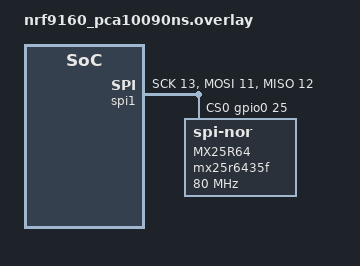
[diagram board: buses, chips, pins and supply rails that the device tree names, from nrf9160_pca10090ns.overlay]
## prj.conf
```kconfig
CONFIG_SERIAL=y
#CONFIG_TRUSTED_EXECUTION_NONSECURE=y
#CONFIG_UART_INTERRUPT_DRIVEN=y
#CONFIG_UART_0_NRF_UARTE=y


# SPI

CONFIG_SPI=y
#CONFIG_NRFX_SPIM=y
#CONFIG_NRFX_SPIM3=y
#CONFIG_SPI_ASYNC=n

CONFIG_LOG=y
#CONFIG_SPI_LOG_LEVEL_DBG=y


# Segger RTT
#CONFIG_USE_SEGGER_RTT=y
#CONFIG_RTT_CONSOLE=y
#CONFIG_UART_CONSOLE=n
#CONFIG_LOG_BACKEND_RTT=n
#CONFIG_LOG_BACKEND_UART=n

CONFIG_DEBUG=y
CONFIG_THREAD_MONITOR=y
CONFIG_THREAD_NAME=y
CONFIG_THREAD_STACK_INFO=y

CONFIG_SPI_1=y
CONFIG_NRFX_SPIM1=y

CONFIG_SPI_3=n
CONFIG_NRFX_SPIM3=n
```

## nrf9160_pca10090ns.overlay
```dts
/*  */
&spi1 {
	compatible = "nordic,nrf-spim";
	status = "okay";
	sck-pin = <13>;
	mosi-pin = <11>;
	miso-pin = <12>;
	cs-gpios = <&gpio0 25 0x0>;
	mx25r64: mx25r6435f@0 {
		compatible = "jedec,spi-nor";
		reg = <0>;
		spi-max-frequency = <80000000>;
		label = "MX25R64";
		jedec-id = [c2 28 17];
		size = <67108864>;
	};
};

&spi3 {

	status = "disabled";

};
&uart1 {

	status = "disabled";

};
```

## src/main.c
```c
/*

* Copyright (c) 2012-2014 Wind River Systems, Inc.

*

* SPDX-License-Identifier: Apache-2.0

*/

#define TEST_SPI_CS_EN 1
#define SPI_CS_CFG_FROM_DTS 0

#if SPI_CS_CFG_FROM_DTS
#define DT_DRV_COMPAT jedec_spi_nor
#endif

#include <zephyr.h>
#include <sys/printk.h>

#include <drivers/spi.h>

/* including 

	const struct device	*gpio_dev;
	uint32_t		delay;
	gpio_pin_t		gpio_pin;
	gpio_dt_flags_t		gpio_dt_flags;
*/

#if TEST_SPI_CS_EN
struct spi_cs_control cs_ctrl; /*   */
#endif

static struct spi_config spi_cfg = {
	.operation = SPI_WORD_SET(8) /* | SPI_TRANSFER_MSB | SPI_MODE_CPOL |
		     SPI_MODE_CPHA*/,
	.frequency = 1000000,
	.slave = 0,
};

const struct device *spi_dev;

static void spi_init(void)
{
#if TEST_SPI_CS_EN
#if !SPI_CS_CFG_FROM_DTS /* not from DTS */
	/* A quick dirty way to add CS to SPI Master to control slave CS  */
	cs_ctrl.delay = 0U; /* us time setup CS before and after SPI activities   */
	cs_ctrl.gpio_pin = 25; /* px.07; GPIO_0 -> p0.25 */
	//cs_ctrl.gpio_dt_flags = 1;  // only avaiable in later NCS releases, please enable this line when compile with later ncs versions. 
	cs_ctrl.gpio_dev = device_get_binding("GPIO_0");

	if (!cs_ctrl.gpio_dev) {
		printk("Unable to get GPIO SPI CS device");
		return;
	}
#else

/* require dts overlay includes the cs pin details, propery device driver setup.*/
#if DT_INST_SPI_DEV_HAS_CS_GPIOS(0)
	cs_ctrl.delay = 0U;
	cs_ctrl.gpio_pin =
		DT_INST_SPI_DEV_CS_GPIOS_PIN(0); /* */
	cs_ctrl.gpio_dt_flags = DT_INST_SPI_DEV_CS_GPIOS_FLAGS(0);
	cs_ctrl.gpio_dev =
		device_get_binding(DT_INST_SPI_DEV_CS_GPIOS_LABEL(0));

	if (!cs_ctrl.gpio_dev) {
		printk("Unable to get GPIO SPI CS device");
		return;
	}

#endif
#endif
	spi_cfg.cs = &cs_ctrl;
#endif
	const char *const spiName = "SPI_1";
	spi_dev = device_get_binding(spiName);

	if (spi_dev == NULL) {
		printk("Could not get %s device\n", spiName);
		return;
	}
}

void spi_read_rdid(void)  /* read device id */
{
	int err;
	uint8_t tx_buffer[32];
	uint8_t rx_buffer[32];
    uint8_t tx_return[32];

	const struct spi_buf tx_buf = { .buf = tx_buffer,
					.len = 1 };
	const struct spi_buf_set tx = { .buffers = &tx_buf, .count = 1 };

	struct spi_buf rx_buf[2] = {
        {
            .buf = tx_return,
            .len = 1
        },
        {
            .buf = rx_buffer,
            .len = 3   /* 3 */
        }
	};
	const struct spi_buf_set rx = { .buffers = (struct spi_buf*)(&rx_buf), .count = 2 };
    tx_buffer[0] = 0x9f;
	err = spi_transceive(spi_dev, &spi_cfg, &tx, &rx);
	if (err) {
		printk("SPI error: %d\n", err);
	} else {
		printk("ID, send: %x\n", tx_buffer[0]);
		printk("RX recv: %02x %02x %02x\n", rx_buffer[0], rx_buffer[1], rx_buffer[2]  /* */);
		
	}
}


void spi_read_res(void)  /* read electronic signature  */
{
	int err;
	uint8_t tx_buffer[32];
	uint8_t rx_buffer[32];
    uint8_t tx_return[32];

	const struct spi_buf tx_buf = { .buf = tx_buffer,
					.len = 1 };
	const struct spi_buf_set tx = { .buffers = &tx_buf, .count = 1 };

	struct spi_buf rx_buf[2] = {
        {
            .buf = tx_return,
            .len = 1
        },
        {
            .buf = rx_buffer,
            .len = 4
        }
	};
	const struct spi_buf_set rx = { .buffers = rx_buf, .count = 2 };
    tx_buffer[0] = 0xAB;
	err = spi_transceive(spi_dev, &spi_cfg, &tx, &rx);
	if (err) {
		printk("SPI error: %d\n", err);
	} else {
		printk("ES: Send: %x\n", tx_buffer[0]);
		printk("RX recv: %02x %02x %02x %02x\n", rx_buffer[0], rx_buffer[1], rx_buffer[2], rx_buffer[3]  /* */);
		
	}
}


void spi_read_rems(void)  /* read electronic manufacture & device id  */
{
	int err;
	uint8_t tx_buffer[32];
	uint8_t rx_buffer[32];
    uint8_t tx_return[32];

	const struct spi_buf tx_buf = { .buf = tx_buffer,
					.len = 1 };
	const struct spi_buf_set tx = { .buffers = &tx_buf, .count = 1 };

	struct spi_buf rx_buf[2] = {
        {
            .buf = tx_return,
            .len = 0 /* 1 */
        },
        {
            .buf = rx_buffer,
            .len = 5  /* 5 */     /*   use a wrong number on purpose */
        }
	};
	const struct spi_buf_set rx = { .buffers = rx_buf, .count = 2 };
    tx_buffer[0] = 0x90;
	err = spi_transceive(spi_dev, &spi_cfg, NULL, &rx);
	if (err) {
		printk("SPI error: %d\n", err);
	} else {
		printk("REMS: Send: %x\n", tx_buffer[0]);
		printk("RX recv: %02x %02x %02x %02x %02x\n", rx_buffer[0], rx_buffer[1], rx_buffer[2], rx_buffer[3], rx_buffer[4] /* */);
		
	}
}


void spi_dummy_writes(void)  /* read electronic signature  */
{
	int err;
	uint8_t tx_buffer[32];
	uint8_t rx_buffer[32];
    uint8_t tx_return[32];

	const struct spi_buf tx_buf = { .buf = tx_buffer,
					.len = 2 };
	const struct spi_buf_set tx = { .buffers = &tx_buf, .count = 1 };

	struct spi_buf rx_buf[2] = {
        {
            .buf = tx_return,
            .len = 1
        },
        {
            .buf = rx_buffer,
            .len = 4
        }
	};
	const struct spi_buf_set rx = { .buffers = rx_buf, .count = 2 };
    tx_buffer[0] = 0x0d;
    tx_buffer[1] = 0x0a;
	err = spi_transceive(spi_dev, &spi_cfg, &tx, NULL);
	if (err) {
		printk("SPI error: %d\n", err);
	} else {
		printk("ES: Send: %x %x\n", tx_buffer[0], tx_buffer[1] );
		printk("RX recv: %02x %02x %02x %02x\n", rx_buffer[0], rx_buffer[1], rx_buffer[2], rx_buffer[3]  /* */);
		
	}
}
unsigned long spi_chk[50][3];
unsigned int spi_chk_cnt = 0;

static int8_t spi_rw(uint8_t* pu8Mosi, uint8_t* pu8Miso, uint16_t u16Sz)
{
//   HAL_StatusTypeDef status;  
int8_t status;
    int err;

/*--- RX ----------------------------------------------------------------------------*/
//const   struct spi_buf rx_buf[] = {
const   struct spi_buf spi_rx_buf = {
                                  .buf = pu8Miso,
                                  .len = u16Sz,
                                  };

const    struct spi_buf_set rx = {
//		.buffers = spi_rx_buf,
		.buffers = &spi_rx_buf,
//		.count = sizeof(spi_rx_buf) / sizeof(struct spi_rx_buf)
                .count = 1,
                };

 /*--- TX ----------------------------------------------------------------------------*/
const  struct spi_buf spi_tx_buf = {
            .buf = pu8Mosi,
            .len = u16Sz
//            .len = u16Sz/sizeof(uint8_t)
    };
const struct  spi_buf_set tx = {
//            .buffers = spi_tx_buf,           
             .buffers = &spi_tx_buf,
//            .count = sizeof(spi_tx_buf)/sizeof(struct spi_tx_buf)
            .count = 1,
    };
/*----------------------------------------------------------------------------------*/
printk("\r\nCID: 0x%x ", (uint32_t)(k_current_get ()));
if( (pu8Mosi == NULL) && (pu8Miso == NULL) )
{
    printk("%s: SPI_null data ptrs: Len (%d)\n",__FUNCTION__,u16Sz);
    return -1;
}

printk("WF_spi: T%08lX-R%08lX-%u",pu8Mosi,pu8Miso,u16Sz);
if (spi_chk_cnt >= 50)
  spi_chk_cnt = 0;

spi_chk[spi_chk_cnt][0] = pu8Mosi;
spi_chk[spi_chk_cnt][1] = pu8Miso;
spi_chk[spi_chk_cnt][2] = u16Sz;

uint8_t tx_junk[8] = {0xff,0xff };

    /* Start SPI transaction - polling method */
    /* Transmit/Recieve */
    if (pu8Mosi == NULL)                                              /* Read Data */
	{
//   err = spi_read(winc1500.spiDev, &winc1500.spi_conf, &rx);
//		status = HAL_SPI_TransmitReceive(&hspiWifi,spiDummyBuf,pu8Miso,u16Sz,1000);


//err = spi_transceive(winc1500.spiDev,&winc1500.spi_conf, (uint8_t* )(tx_junk), &rx);
err = spi_transceive(spi_dev, &spi_cfg, NULL, &rx);

    }
    else if(pu8Miso == NULL)                                          /* Write Data */
    {
       uint32_t datalen = 0;
       uint8_t* dataptr = tx.buffers->buf;
//    err = spi_write(winc1500.spiDev, &winc1500.spi_conf, &tx);
//        status = HAL_SPI_TransmitReceive(&hspiWifi,pu8Mosi,spiDummyBuf,u16Sz,1000);
 //       memset(spiDummyBuf,0, u16Sz);
 	err = spi_transceive(spi_dev, &spi_cfg, &tx, NULL);
    while(datalen < tx.buffers->len)
    {
        printk("%02x ", dataptr[datalen++]);
    }
    
   }
    else
    {     
    err = spi_transceive(spi_dev, &spi_cfg, &tx, &rx); 
//        status = HAL_SPI_TransmitReceive(&hspiWifi,pu8Mosi,pu8Miso,u16Sz,1000);
    } 
 
    

    /* Handle Transmit/Recieve error */
    if (err != 0)
    {
        printk("%s: HAL_SPI_TransmitReceive failed. error (%d)\n",__FUNCTION__,err);
        spi_chk_cnt++;
       // k_sleep(K_MSEC(10));
        return status;
    }
    
 // 	spi_select_slave(false);

        spi_chk_cnt++;
       // k_sleep(K_MSEC(10));
	return 0;
}

void spi_dummy_write_2(void)
{
    uint8_t wb[32];
    uint8_t readcnt = 20;
    
    while(readcnt-->0)
    {
         spi_rw(NULL, wb, 1);  
    }
    spi_rw(NULL, wb, 3);  
    wb[0] = 0xc7;
    wb[1] = 0x0d;
    wb[2] = 0xda;
    wb[3] = 0x38;
    wb[4] = 0x00;
    wb[5] = 0x00;
    wb[6] = 0x02;          
    spi_rw(wb, NULL, 7);  
    spi_rw(NULL, wb, 1);  
    spi_rw(NULL, wb, 1);
    wb[0] = 0xf3;
    spi_rw(wb, NULL, 1); 
    wb[0] = 0xd;
    wb[1] = 0x0a;
    spi_rw(wb, NULL, 2);
}

void main(void)
{
	printk("SPIM Example\n");
	spi_init();
    /* Validate bus and CS is ready */
  //  if (!spi_is_ready(&spi_cfg)) {
  //      return -ENODEV;
  //  }
    
	while (1) {
        printk("###################################################\n");
        spi_dummy_writes();
		spi_read_rdid();  //9f
        spi_dummy_write_2();
        //k_sleep(K_MSEC(100));
        spi_read_res();  //ab
        //k_sleep(K_MSEC(100));
        spi_read_rems(); //90
		k_sleep(K_MSEC(500));
	}
}
```
